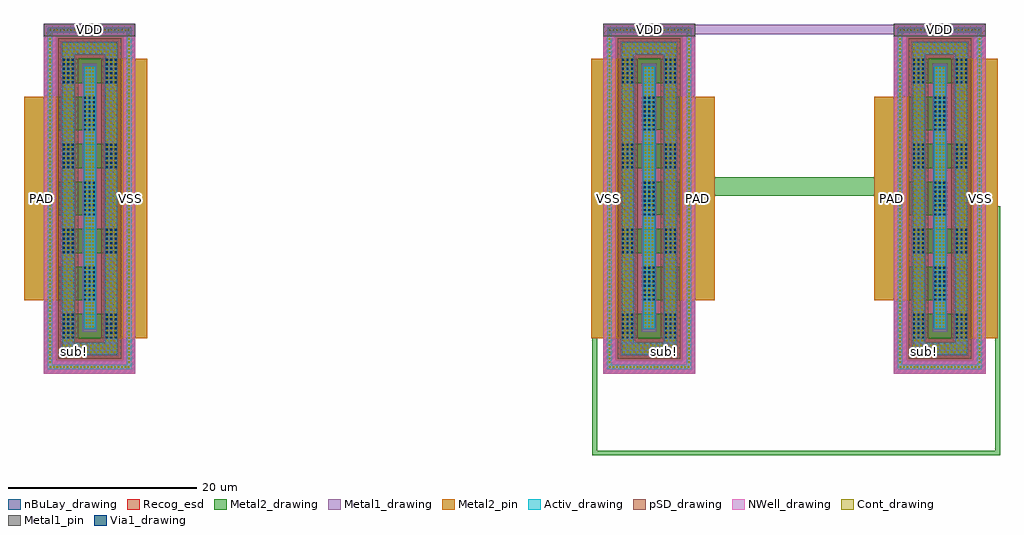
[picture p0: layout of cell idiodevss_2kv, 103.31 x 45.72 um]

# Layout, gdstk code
import gdstk
lib = gdstk.Library(unit=1e-6, precision=1e-09)
def R(c, l, rs):  # rectangles x0, y0, x1, y1
    for r in rs: c.add(gdstk.rectangle(r[:2], r[2:], *l))
def A(c, l, x, y, w, h, nx, ny, dx, dy):  # array of equal rectangles
    R(c, l, [(x+i*dx, y+j*dy, x+i*dx+w, y+j*dy+h) for i in range(nx) for j in range(ny)])
def P(c, l, *ps):  # polygons
    for p in ps: c.add(gdstk.Polygon(p, *l))
Activ_drawing = (1, 0)
Cont_drawing = (6, 0)
Metal1_drawing = (8, 0)
Metal1_pin = (8, 2)
Metal2_drawing = (10, 0)
Metal2_pin = (10, 2)
pSD_drawing = (14, 0)
Via1_drawing = (19, 0)
NWell_drawing = (31, 0)
nBuLay_drawing = (32, 0)
Recog_esd = (99, 30)

idiodevss_2kv = lib.new_cell('idiodevss_2kv')
R(idiodevss_2kv, Activ_drawing, [(4.23,4.73,5.49,32.51), (63.467,4.73,64.727,32.51), (94.23,4.73,95.49,32.51)])
P(idiodevss_2kv, Activ_drawing, [(61.187,1.98),(61.187,35.07),(66.977,35.07),(66.977,3.24),(65.717,3.24),(65.717,33.81),(62.447,33.81),(62.447,3.24),(66.977,3.24),(66.977,1.98)],
  [(59.657,0.45),(59.657,36.6),(68.537,36.6),(68.537,0.93),(68.057,0.93),(68.057,36.12),(60.137,36.12),(60.137,0.93),(68.537,0.93),(68.537,0.45)],
  [(91.98,1.98),(91.98,3.24),(96.51,3.24),(96.51,33.81),(93.24,33.81),(93.24,3.24),(91.98,3.24),(91.98,35.07),(97.77,35.07),(97.77,1.98)],
  [(90.42,0.45),(90.42,0.93),(98.82,0.93),(98.82,36.12),(90.9,36.12),(90.9,0.93),(90.42,0.93),(90.42,36.6),(99.3,36.6),(99.3,0.45)],
  [(1.98,1.98),(1.98,3.24),(6.51,3.24),(6.51,33.81),(3.24,33.81),(3.24,3.24),(1.98,3.24),(1.98,35.07),(7.77,35.07),(7.77,1.98)],
  [(0.42,0.45),(0.42,0.93),(8.82,0.93),(8.82,36.12),(0.9,36.12),(0.9,0.93),(0.42,0.93),(0.42,36.6),(9.3,36.6),(9.3,0.45)])
A(idiodevss_2kv, Cont_drawing, 0.64, 0.61, 0.16, 0.16, 24, 2, 0.36, 35.67)
A(idiodevss_2kv, Cont_drawing, 59.877, 0.61, 0.16, 0.16, 24, 2, 0.36, 35.67)
A(idiodevss_2kv, Cont_drawing, 90.64, 0.61, 0.16, 0.16, 24, 2, 0.36, 35.67)
A(idiodevss_2kv, Cont_drawing, 0.58, 1.145, 0.16, 0.16, 1, 97, 0, 0.36)
A(idiodevss_2kv, Cont_drawing, 8.98, 1.145, 0.16, 0.16, 1, 97, 0, 0.36)
A(idiodevss_2kv, Cont_drawing, 59.817, 1.145, 0.16, 0.16, 1, 97, 0, 0.36)
A(idiodevss_2kv, Cont_drawing, 68.217, 1.145, 0.16, 0.16, 1, 97, 0, 0.36)
A(idiodevss_2kv, Cont_drawing, 90.58, 1.145, 0.16, 0.16, 1, 97, 0, 0.36)
A(idiodevss_2kv, Cont_drawing, 98.98, 1.145, 0.16, 0.16, 1, 97, 0, 0.36)
A(idiodevss_2kv, Cont_drawing, 2.055, 2.19, 0.16, 0.16, 16, 3, 0.36, 0.36)
A(idiodevss_2kv, Cont_drawing, 61.342, 2.19, 0.16, 0.16, 16, 3, 0.36, 0.36)
A(idiodevss_2kv, Cont_drawing, 92.055, 2.19, 0.16, 0.16, 16, 3, 0.36, 0.36)
A(idiodevss_2kv, Cont_drawing, 2.165, 3.405, 0.16, 0.16, 3, 85, 0.36, 0.36)
A(idiodevss_2kv, Cont_drawing, 6.695, 3.405, 0.16, 0.16, 3, 85, 0.36, 0.36)
A(idiodevss_2kv, Cont_drawing, 61.382, 3.405, 0.16, 0.16, 3, 85, 0.36, 0.36)
A(idiodevss_2kv, Cont_drawing, 65.912, 3.405, 0.16, 0.16, 3, 85, 0.36, 0.36)
A(idiodevss_2kv, Cont_drawing, 92.165, 3.405, 0.16, 0.16, 3, 85, 0.36, 0.36)
A(idiodevss_2kv, Cont_drawing, 96.695, 3.405, 0.16, 0.16, 3, 85, 0.36, 0.36)
A(idiodevss_2kv, Cont_drawing, 4.44, 4.89, 0.16, 0.16, 3, 77, 0.36, 0.36)
A(idiodevss_2kv, Cont_drawing, 63.637, 4.89, 0.16, 0.16, 3, 77, 0.36, 0.36)
A(idiodevss_2kv, Cont_drawing, 94.44, 4.89, 0.16, 0.16, 3, 77, 0.36, 0.36)
A(idiodevss_2kv, Cont_drawing, 2.055, 34.02, 0.16, 0.16, 16, 3, 0.36, 0.36)
A(idiodevss_2kv, Cont_drawing, 61.342, 34.02, 0.16, 0.16, 16, 3, 0.36, 0.36)
A(idiodevss_2kv, Cont_drawing, 92.055, 34.02, 0.16, 0.16, 16, 3, 0.36, 0.36)
R(idiodevss_2kv, Metal1_drawing, [(4.11,4.43,5.64,32.78), (63.317,4.43,64.847,32.78), (94.11,4.43,95.64,32.78)])
P(idiodevss_2kv, Metal1_drawing, [(61.037,1.89),(61.037,35.16),(67.127,35.16),(67.127,3.3),(65.597,3.3),(65.597,33.75),(62.597,33.75),(62.597,3.3),(67.127,3.3),(67.127,1.89)],
  [(59.237,0),(59.237,37.05),(68.957,37.05),(68.957,1.35),(67.607,1.35),(67.607,35.7),(60.557,35.7),(60.557,1.35),(68.957,1.35),(68.957,0)],
  [(91.83,1.89),(91.83,3.3),(96.36,3.3),(96.36,33.75),(93.36,33.75),(93.36,3.3),(91.83,3.3),(91.83,35.16),(97.92,35.16),(97.92,1.89)],
  [(90,0),(90,1.35),(98.4,1.35),(98.4,35.7),(91.35,35.7),(91.35,1.35),(90,1.35),(90,37.05),(99.72,37.05),(99.72,0)],
  [(1.83,1.89),(1.83,3.3),(6.36,3.3),(6.36,33.75),(3.36,33.75),(3.36,3.3),(1.83,3.3),(1.83,35.16),(7.92,35.16),(7.92,1.89)],
  [(0,0),(0,1.35),(8.4,1.35),(8.4,35.7),(1.35,35.7),(1.35,1.35),(0,1.35),(0,37.05),(9.72,37.05),(9.72,0)])
R(idiodevss_2kv, Metal1_pin, [(0,35.7,9.72,37.05), (59.237,35.7,68.957,37.05), (90,35.7,99.72,37.05)])
P(idiodevss_2kv, Metal2_drawing, [(57.977,3.725),(57.977,33.325),(66.977,33.325),(66.977,30.725),(61.577,30.725),(61.577,24.325),(66.977,24.325),(66.977,21.725),(61.577,21.725),(61.577,15.325),(66.977,15.325),(66.977,12.725),(61.577,12.725),(61.577,6.325),(66.977,6.325),(66.977,3.725)],
  [(63.472,7.74),(63.472,11.3),(63.657,11.3),(63.657,11.305),(67.437,11.305),(67.437,16.745),(64.722,16.745),(64.722,16.74),(63.472,16.74),(63.472,20.3),(63.657,20.3),(63.657,20.305),(67.437,20.305),(67.437,25.745),(64.722,25.745),(64.722,25.74),(63.472,25.74),(63.472,29.3),(63.657,29.3),(63.657,29.305),(71.037,29.305),(71.037,7.745),(64.722,7.745),(64.722,7.74)],
  [(91.98,3.725),(91.98,6.325),(97.38,6.325),(97.38,12.725),(91.98,12.725),(91.98,15.325),(97.38,15.325),(97.38,21.725),(91.98,21.725),(91.98,24.325),(97.38,24.325),(97.38,30.725),(91.98,30.725),(91.98,33.325),(100.98,33.325),(100.98,3.725)],
  [(94.235,7.74),(94.235,7.745),(87.92,7.745),(87.92,29.305),(95.3,29.305),(95.3,29.3),(95.485,29.3),(95.485,25.74),(94.235,25.74),(94.235,25.745),(91.52,25.745),(91.52,20.305),(95.3,20.305),(95.3,20.3),(95.485,20.3),(95.485,16.74),(94.235,16.74),(94.235,16.745),(91.52,16.745),(91.52,11.305),(95.3,11.305),(95.3,11.3),(95.485,11.3),(95.485,7.74)],
  [(1.98,3.725),(1.98,6.325),(7.38,6.325),(7.38,12.725),(1.98,12.725),(1.98,15.325),(7.38,15.325),(7.38,21.725),(1.98,21.725),(1.98,24.325),(7.38,24.325),(7.38,30.725),(1.98,30.725),(1.98,33.325),(10.98,33.325),(10.98,3.725)],
  [(4.235,7.74),(4.235,7.745),(-2.08,7.745),(-2.08,29.305),(5.3,29.305),(5.3,29.3),(5.485,29.3),(5.485,25.74),(4.235,25.74),(4.235,25.745),(1.52,25.745),(1.52,20.305),(5.3,20.305),(5.3,20.3),(5.485,20.3),(5.485,16.74),(4.235,16.74),(4.235,16.745),(1.52,16.745),(1.52,11.305),(5.3,11.305),(5.3,11.3),(5.485,11.3),(5.485,7.74)])
R(idiodevss_2kv, Metal2_pin, [(7.38,3.725,10.98,33.325), (57.977,3.725,61.577,33.325), (97.38,3.725,100.98,33.325), (-2.08,7.745,1.52,29.305), (67.437,7.745,71.037,29.305), (87.92,7.745,91.52,29.305)])
P(idiodevss_2kv, pSD_drawing, [(60.767,1.56),(60.767,35.49),(67.397,35.49),(67.397,3.66),(65.297,3.66),(65.297,33.39),(62.867,33.39),(62.867,3.66),(67.397,3.66),(67.397,1.56)],
  [(91.56,1.56),(91.56,3.66),(96.09,3.66),(96.09,33.39),(93.66,33.39),(93.66,3.66),(91.56,3.66),(91.56,35.49),(98.19,35.49),(98.19,1.56)],
  [(1.56,1.56),(1.56,3.66),(6.09,3.66),(6.09,33.39),(3.66,33.39),(3.66,3.66),(1.56,3.66),(1.56,35.49),(8.19,35.49),(8.19,1.56)])
A(idiodevss_2kv, Via1_drawing, 2.03, 3.73, 0.19, 0.19, 3, 6, 0.48, 0.48)
A(idiodevss_2kv, Via1_drawing, 6.59, 3.73, 0.19, 0.19, 3, 6, 0.48, 0.48)
A(idiodevss_2kv, Via1_drawing, 61.217, 3.73, 0.19, 0.19, 3, 6, 0.48, 0.48)
A(idiodevss_2kv, Via1_drawing, 65.777, 3.73, 0.19, 0.19, 3, 6, 0.48, 0.48)
A(idiodevss_2kv, Via1_drawing, 92.03, 3.73, 0.19, 0.19, 3, 6, 0.48, 0.48)
A(idiodevss_2kv, Via1_drawing, 96.59, 3.73, 0.19, 0.19, 3, 6, 0.48, 0.48)
A(idiodevss_2kv, Via1_drawing, 4.285, 7.745, 0.19, 0.19, 3, 8, 0.48, 0.48)
A(idiodevss_2kv, Via1_drawing, 63.522, 7.745, 0.19, 0.19, 3, 8, 0.48, 0.48)
A(idiodevss_2kv, Via1_drawing, 94.285, 7.745, 0.19, 0.19, 3, 8, 0.48, 0.48)
A(idiodevss_2kv, Via1_drawing, 2.03, 12.73, 0.19, 0.19, 3, 6, 0.48, 0.48)
A(idiodevss_2kv, Via1_drawing, 6.59, 12.73, 0.19, 0.19, 3, 6, 0.48, 0.48)
A(idiodevss_2kv, Via1_drawing, 61.217, 12.73, 0.19, 0.19, 3, 6, 0.48, 0.48)
A(idiodevss_2kv, Via1_drawing, 65.777, 12.73, 0.19, 0.19, 3, 6, 0.48, 0.48)
A(idiodevss_2kv, Via1_drawing, 92.03, 12.73, 0.19, 0.19, 3, 6, 0.48, 0.48)
A(idiodevss_2kv, Via1_drawing, 96.59, 12.73, 0.19, 0.19, 3, 6, 0.48, 0.48)
A(idiodevss_2kv, Via1_drawing, 4.285, 16.745, 0.19, 0.19, 3, 8, 0.48, 0.48)
A(idiodevss_2kv, Via1_drawing, 63.522, 16.745, 0.19, 0.19, 3, 8, 0.48, 0.48)
A(idiodevss_2kv, Via1_drawing, 94.285, 16.745, 0.19, 0.19, 3, 8, 0.48, 0.48)
A(idiodevss_2kv, Via1_drawing, 2.03, 21.73, 0.19, 0.19, 3, 6, 0.48, 0.48)
A(idiodevss_2kv, Via1_drawing, 6.59, 21.73, 0.19, 0.19, 3, 6, 0.48, 0.48)
A(idiodevss_2kv, Via1_drawing, 61.217, 21.73, 0.19, 0.19, 3, 6, 0.48, 0.48)
A(idiodevss_2kv, Via1_drawing, 65.777, 21.73, 0.19, 0.19, 3, 6, 0.48, 0.48)
A(idiodevss_2kv, Via1_drawing, 92.03, 21.73, 0.19, 0.19, 3, 6, 0.48, 0.48)
A(idiodevss_2kv, Via1_drawing, 96.59, 21.73, 0.19, 0.19, 3, 6, 0.48, 0.48)
A(idiodevss_2kv, Via1_drawing, 4.285, 25.745, 0.19, 0.19, 3, 8, 0.48, 0.48)
A(idiodevss_2kv, Via1_drawing, 63.522, 25.745, 0.19, 0.19, 3, 8, 0.48, 0.48)
A(idiodevss_2kv, Via1_drawing, 94.285, 25.745, 0.19, 0.19, 3, 8, 0.48, 0.48)
A(idiodevss_2kv, Via1_drawing, 2.03, 30.73, 0.19, 0.19, 3, 6, 0.48, 0.48)
A(idiodevss_2kv, Via1_drawing, 6.59, 30.73, 0.19, 0.19, 3, 6, 0.48, 0.48)
A(idiodevss_2kv, Via1_drawing, 61.217, 30.73, 0.19, 0.19, 3, 6, 0.48, 0.48)
A(idiodevss_2kv, Via1_drawing, 65.777, 30.73, 0.19, 0.19, 3, 6, 0.48, 0.48)
A(idiodevss_2kv, Via1_drawing, 92.03, 30.73, 0.19, 0.19, 3, 6, 0.48, 0.48)
A(idiodevss_2kv, Via1_drawing, 96.59, 30.73, 0.19, 0.19, 3, 6, 0.48, 0.48)
P(idiodevss_2kv, NWell_drawing, [(59.237,0),(59.237,37.05),(68.957,37.05),(68.957,1.35),(67.607,1.35),(67.607,35.7),(60.557,35.7),(60.557,1.35),(68.957,1.35),(68.957,0)],
  [(90,0),(90,1.35),(98.4,1.35),(98.4,35.7),(91.35,35.7),(91.35,1.35),(90,1.35),(90,37.05),(99.72,37.05),(99.72,0)],
  [(0,0),(0,1.35),(8.4,1.35),(8.4,35.7),(1.35,35.7),(1.35,1.35),(0,1.35),(0,37.05),(9.72,37.05),(9.72,0)])
R(idiodevss_2kv, nBuLay_drawing, [(0,0,9.72,37.05), (59.237,0,68.957,37.05), (90,0,99.72,37.05)])
R(idiodevss_2kv, Recog_esd, [(0,0,9.72,37.05), (59.237,0,68.957,37.05), (90,0,99.72,37.05)])
idiodevss_2kv.add(gdstk.FlexPath([(100.98,17.72),(100.98,-8.421),(58.328,-8.421),(58.328,7.835)], 0.5, ends="flush", simple_path=True, layer=10, datatype=0))  # Metal2_drawing
idiodevss_2kv.add(gdstk.FlexPath([(88.99,19.801),(69.477,19.801)], 2, ends="flush", simple_path=True, layer=10, datatype=0))  # Metal2_drawing
idiodevss_2kv.add(gdstk.FlexPath([(64.224,36.44),(93.52,36.44)], 1, ends="flush", simple_path=True, layer=8, datatype=0))  # Metal1_drawing
idiodevss_2kv.add(gdstk.Label('PAD', (69.237,18.525), layer=63, texttype=0))
idiodevss_2kv.add(gdstk.Label('VSS', (59.777,18.525), layer=63, texttype=0))
idiodevss_2kv.add(gdstk.Label('VDD', (64.097,36.375), layer=63, texttype=0))
idiodevss_2kv.add(gdstk.Label('sub!', (65.672,2.385), layer=63, texttype=0))
idiodevss_2kv.add(gdstk.Label('idiodevss_2kv', (62.657,18.43), layer=63, texttype=0))
idiodevss_2kv.add(gdstk.Label('PAD', (89.72,18.525), layer=63, texttype=0))
idiodevss_2kv.add(gdstk.Label('VSS', (99.18,18.525), layer=63, texttype=0))
idiodevss_2kv.add(gdstk.Label('VDD', (94.86,36.375), layer=63, texttype=0))
idiodevss_2kv.add(gdstk.Label('sub!', (93.285,2.385), layer=63, texttype=0))
idiodevss_2kv.add(gdstk.Label('idiodevss_2kv', (96.3,18.43), layer=63, texttype=0))
idiodevss_2kv.add(gdstk.Label('PAD', (-0.28,18.525), layer=63, texttype=0))
idiodevss_2kv.add(gdstk.Label('VSS', (9.18,18.525), layer=63, texttype=0))
idiodevss_2kv.add(gdstk.Label('VDD', (4.86,36.375), layer=63, texttype=0))
idiodevss_2kv.add(gdstk.Label('sub!', (3.285,2.385), layer=63, texttype=0))
idiodevss_2kv.add(gdstk.Label('idiodevss_2kv', (6.3,18.43), layer=63, texttype=0))

lib.write_gds('idiodevss_2kv.gds')
